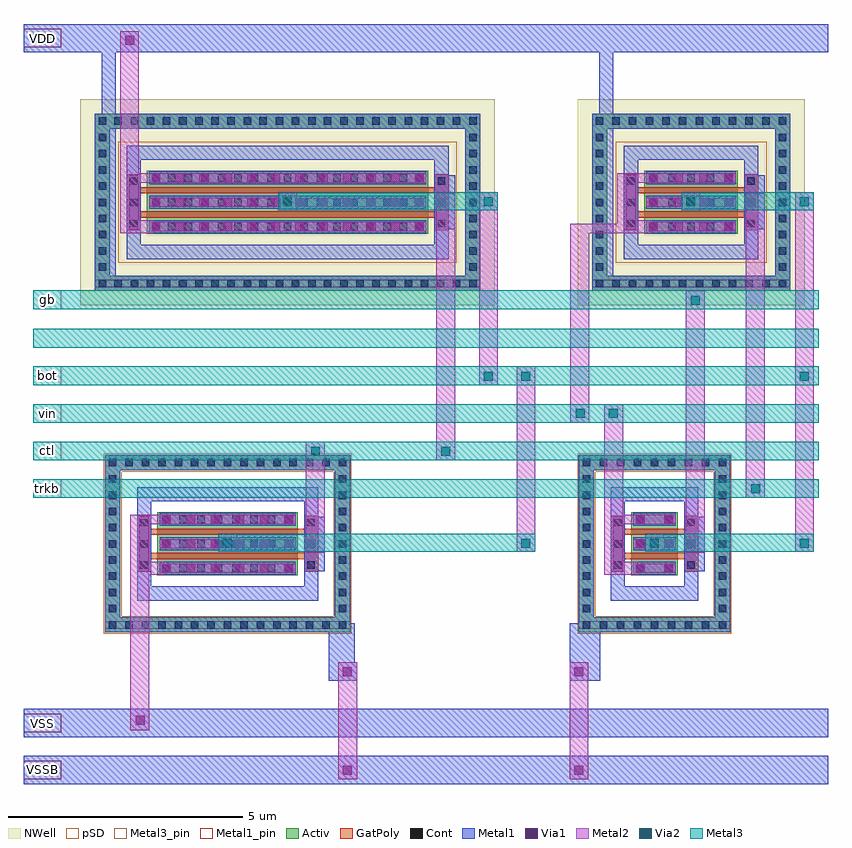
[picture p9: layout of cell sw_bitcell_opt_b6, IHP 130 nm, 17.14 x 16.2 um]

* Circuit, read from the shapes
.subckt sw_bitcell_opt_b6 VDD VSS VSSB bot ctl gb trkb vin
XM1 bot ctl VSS VSSB sg13_lv_nmos w=3u l=0.13u m=2
XM2 bot gb vin VSSB sg13_lv_nmos w=1u l=0.13u m=2
XM3 bot ctl VDD VDD sg13_lv_pmos w=6u l=0.13u m=2
XM4 bot trkb vin VDD sg13_lv_pmos w=2u l=0.13u m=2
.ends

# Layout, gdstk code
import gdstk
lib = gdstk.Library(unit=1e-6, precision=1e-09)
def R(c, l, rs):  # rectangles x0, y0, x1, y1
    for r in rs: c.add(gdstk.rectangle(r[:2], r[2:], *l))
def A(c, l, x, y, w, h, nx, ny, dx, dy):  # array of equal rectangles
    R(c, l, [(x+i*dx, y+j*dy, x+i*dx+w, y+j*dy+h) for i in range(nx) for j in range(ny)])
def P(c, l, *ps):  # polygons
    for p in ps: c.add(gdstk.Polygon(p, *l))
Activ = (1, 0)
GatPoly = (5, 0)
Cont = (6, 0)
Metal1 = (8, 0)
Metal1_pin = (8, 2)
Metal2 = (10, 0)
pSD = (14, 0)
Via1 = (19, 0)
Via2 = (29, 0)
Metal3 = (30, 0)
Metal3_pin = (30, 2)
NWell = (31, 0)

rfnmos_12 = lib.new_cell('rfnmos$12')
R(rfnmos_12, Activ, [(1.14,1.245,4.14,2.595)])
P(rfnmos_12, Activ, [(0.03,0.03),(0.03,3.49),(0.35,3.49),(0.35,0.35),(4.93,0.35),(4.93,3.49),(0.03,3.49),(0.03,3.81),(5.25,3.81),(5.25,0.03)])
R(rfnmos_12, GatPoly, [(0.71,1.32,1.01,2.52), (4.27,1.32,4.57,2.52), (1.01,1.595,4.27,1.725), (1.01,2.115,4.27,2.245)])
A(rfnmos_12, Cont, 0.11, 0.11, 0.16, 0.16, 15, 2, 0.35, 3.46)
A(rfnmos_12, Cont, 0.11, 0.46, 0.16, 0.16, 1, 9, 0, 0.345)
A(rfnmos_12, Cont, 5.01, 0.46, 0.16, 0.16, 1, 9, 0, 0.345)
A(rfnmos_12, Cont, 1.24, 1.32, 0.16, 0.16, 3, 3, 0.375, 0.52)
A(rfnmos_12, Cont, 2.37, 1.32, 0.16, 0.16, 1, 3, 0, 0.52)
A(rfnmos_12, Cont, 2.745, 1.32, 0.16, 0.16, 1, 3, 0, 0.52)
A(rfnmos_12, Cont, 3.125, 1.32, 0.16, 0.16, 1, 3, 0, 0.52)
A(rfnmos_12, Cont, 3.5, 1.32, 0.16, 0.16, 1, 3, 0, 0.52)
A(rfnmos_12, Cont, 3.88, 1.32, 0.16, 0.16, 1, 3, 0, 0.52)
A(rfnmos_12, Cont, 0.78, 1.39, 0.16, 0.16, 1, 3, 0, 0.45)
A(rfnmos_12, Cont, 4.34, 1.39, 0.16, 0.16, 1, 3, 0, 0.45)
A(rfnmos_12, Metal1, 1.19, 1.26, 2.9, 0.28, 1, 3, 0, 0.52)
R(rfnmos_12, Metal1, [(0.03,0.03,5.25,0.35), (0.03,0.35,0.35,3.49), (4.93,0.35,5.25,3.49), (0.76,1.34,0.96,2.5), (4.32,1.34,4.52,2.5), (0.03,3.49,5.25,3.81)])
P(rfnmos_12, Metal1, [(0.71,0.71),(0.71,2.83),(1.01,2.83),(1.01,1.01),(4.27,1.01),(4.27,2.83),(0.71,2.83),(0.71,3.13),(4.57,3.13),(4.57,0.71)])
R(rfnmos_12, Metal1_pin, [(0.03,0.11,5.25,0.27), (0.03,0.11,5.25,0.27), (1.19,1.26,4.09,1.54), (1.19,1.26,4.09,1.54), (0.76,1.34,0.96,2.5), (0.76,1.34,0.96,2.5), (1.19,1.78,4.09,2.06), (1.19,1.78,4.09,2.06)])
A(rfnmos_12, Metal2, 1.19, 1.3, 2.9, 0.2, 1, 3, 0, 0.52)
P(rfnmos_12, pSD, [(0,0),(0,3.46),(0.38,3.46),(0.38,0.38),(4.9,0.38),(4.9,3.46),(0,3.46),(0,3.84),(5.28,3.84),(5.28,0)])
A(rfnmos_12, Via1, 1.24, 1.305, 0.19, 0.19, 3, 3, 0.52, 0.52)
A(rfnmos_12, Via1, 2.805, 1.305, 0.19, 0.19, 1, 3, 0, 0.52)
A(rfnmos_12, Via1, 3.325, 1.305, 0.19, 0.19, 1, 3, 0, 0.52)
A(rfnmos_12, Via1, 3.85, 1.305, 0.19, 0.19, 1, 3, 0, 0.52)
rfnmos_12.add(gdstk.Label('S', (2.64,1.42), layer=63, texttype=0))
rfnmos_12.add(gdstk.Label('D', (2.64,1.94), layer=63, texttype=0))
rfnmos_12.add(gdstk.Label('G', (0.86,1.92), layer=63, texttype=0))
rfnmos_12.add(gdstk.Label('TIE', (2.64,0.19), layer=63, texttype=0))
rfnmos_12.add(gdstk.Label('rfnmos', (2.64,3.65), layer=63, texttype=0))

rfpmos_11 = lib.new_cell('rfpmos$11')
R(rfpmos_11, Activ, [(1.42,1.525,7.42,2.875)])
P(rfpmos_11, Activ, [(0.31,0.31),(0.31,3.77),(0.63,3.77),(0.63,0.63),(8.21,0.63),(8.21,3.77),(0.31,3.77),(0.31,4.09),(8.53,4.09),(8.53,0.31)])
R(rfpmos_11, GatPoly, [(0.99,1.6,1.29,2.8), (7.55,1.6,7.85,2.8), (1.29,1.875,7.55,2.005), (1.29,2.395,7.55,2.525)])
A(rfpmos_11, Cont, 0.73, 0.39, 0.16, 0.16, 3, 2, 0.345, 3.46)
A(rfpmos_11, Cont, 1.76, 0.39, 0.16, 0.16, 3, 2, 0.345, 3.46)
A(rfpmos_11, Cont, 2.79, 0.39, 0.16, 0.16, 3, 2, 0.345, 3.46)
A(rfpmos_11, Cont, 3.82, 0.39, 0.16, 0.16, 4, 2, 0.345, 3.46)
A(rfpmos_11, Cont, 5.195, 0.39, 0.16, 0.16, 3, 2, 0.345, 3.46)
A(rfpmos_11, Cont, 6.225, 0.39, 0.16, 0.16, 3, 2, 0.345, 3.46)
A(rfpmos_11, Cont, 7.255, 0.39, 0.16, 0.16, 4, 2, 0.345, 3.46)
A(rfpmos_11, Cont, 0.39, 0.74, 0.16, 0.16, 1, 9, 0, 0.345)
A(rfpmos_11, Cont, 8.29, 0.74, 0.16, 0.16, 1, 9, 0, 0.345)
A(rfpmos_11, Cont, 1.52, 1.6, 0.16, 0.16, 1, 3, 0, 0.52)
A(rfpmos_11, Cont, 1.87, 1.6, 0.16, 0.16, 1, 3, 0, 0.52)
A(rfpmos_11, Cont, 2.225, 1.6, 0.16, 0.16, 1, 3, 0, 0.52)
A(rfpmos_11, Cont, 2.575, 1.6, 0.16, 0.16, 1, 3, 0, 0.52)
A(rfpmos_11, Cont, 2.93, 1.6, 0.16, 0.16, 1, 3, 0, 0.52)
A(rfpmos_11, Cont, 3.28, 1.6, 0.16, 0.16, 1, 3, 0, 0.52)
A(rfpmos_11, Cont, 3.635, 1.6, 0.16, 0.16, 1, 3, 0, 0.52)
A(rfpmos_11, Cont, 3.985, 1.6, 0.16, 0.16, 1, 3, 0, 0.52)
A(rfpmos_11, Cont, 4.34, 1.6, 0.16, 0.16, 1, 3, 0, 0.52)
A(rfpmos_11, Cont, 4.69, 1.6, 0.16, 0.16, 1, 3, 0, 0.52)
A(rfpmos_11, Cont, 5.045, 1.6, 0.16, 0.16, 1, 3, 0, 0.52)
A(rfpmos_11, Cont, 5.395, 1.6, 0.16, 0.16, 1, 3, 0, 0.52)
A(rfpmos_11, Cont, 5.75, 1.6, 0.16, 0.16, 1, 3, 0, 0.52)
A(rfpmos_11, Cont, 6.1, 1.6, 0.16, 0.16, 1, 3, 0, 0.52)
A(rfpmos_11, Cont, 6.455, 1.6, 0.16, 0.16, 1, 3, 0, 0.52)
A(rfpmos_11, Cont, 6.805, 1.6, 0.16, 0.16, 1, 3, 0, 0.52)
A(rfpmos_11, Cont, 7.16, 1.6, 0.16, 0.16, 1, 3, 0, 0.52)
A(rfpmos_11, Cont, 1.06, 1.67, 0.16, 0.16, 1, 3, 0, 0.45)
A(rfpmos_11, Cont, 7.62, 1.67, 0.16, 0.16, 1, 3, 0, 0.45)
R(rfpmos_11, Cont, [(0.39,0.39,0.55,0.55), (0.39,3.85,0.55,4.01)])
A(rfpmos_11, Metal1, 1.47, 1.54, 5.9, 0.28, 1, 3, 0, 0.52)
R(rfpmos_11, Metal1, [(0.31,0.31,8.53,0.63), (0.31,0.63,0.63,3.77), (8.21,0.63,8.53,3.77), (1.04,1.62,1.24,2.78), (7.6,1.62,7.8,2.78), (0.31,3.77,8.53,4.09)])
P(rfpmos_11, Metal1, [(0.99,0.99),(0.99,3.11),(1.29,3.11),(1.29,1.29),(7.55,1.29),(7.55,3.11),(0.99,3.11),(0.99,3.41),(7.85,3.41),(7.85,0.99)])
R(rfpmos_11, Metal1_pin, [(0.31,0.39,8.53,0.55), (0.31,0.39,8.53,0.55), (1.47,1.54,7.37,1.82), (1.47,1.54,7.37,1.82), (1.04,1.62,1.24,2.78), (1.04,1.62,1.24,2.78), (1.47,2.06,7.37,2.34), (1.47,2.06,7.37,2.34)])
A(rfpmos_11, Metal2, 1.47, 1.58, 5.9, 0.2, 1, 3, 0, 0.52)
R(rfpmos_11, pSD, [(0.81,0.91,8.03,3.49)])
A(rfpmos_11, Via1, 1.52, 1.585, 0.19, 0.19, 12, 3, 0.51, 0.52)
R(rfpmos_11, NWell, [(0,0,8.84,4.4)])
rfpmos_11.add(gdstk.Label('S', (4.42,1.7), layer=63, texttype=0))
rfpmos_11.add(gdstk.Label('D', (4.42,2.22), layer=63, texttype=0))
rfpmos_11.add(gdstk.Label('G', (1.14,2.2), layer=63, texttype=0))
rfpmos_11.add(gdstk.Label('TIE', (4.42,0.47), layer=63, texttype=0))
rfpmos_11.add(gdstk.Label('rfpmos', (4.42,3.93), layer=63, texttype=0))

rfnmos_1_8 = lib.new_cell('rfnmos$1$8')
R(rfnmos_1_8, Activ, [(1.14,1.245,2.14,2.595)])
P(rfnmos_1_8, Activ, [(0.03,0.03),(0.03,3.49),(0.35,3.49),(0.35,0.35),(2.93,0.35),(2.93,3.49),(0.03,3.49),(0.03,3.81),(3.25,3.81),(3.25,0.03)])
R(rfnmos_1_8, GatPoly, [(0.71,1.32,1.01,2.52), (2.27,1.32,2.57,2.52), (1.01,1.595,2.27,1.725), (1.01,2.115,2.27,2.245)])
A(rfnmos_1_8, Cont, 0.11, 0.46, 0.16, 0.16, 1, 9, 0, 0.345)
A(rfnmos_1_8, Cont, 3.01, 0.46, 0.16, 0.16, 1, 9, 0, 0.345)
A(rfnmos_1_8, Cont, 1.24, 1.32, 0.16, 0.16, 1, 3, 0, 0.52)
A(rfnmos_1_8, Cont, 1.88, 1.32, 0.16, 0.16, 1, 3, 0, 0.52)
A(rfnmos_1_8, Cont, 0.78, 1.39, 0.16, 0.16, 1, 3, 0, 0.45)
A(rfnmos_1_8, Cont, 2.34, 1.39, 0.16, 0.16, 1, 3, 0, 0.45)
R(rfnmos_1_8, Cont, [(0.11,0.11,0.27,0.27), (0.47,0.11,0.63,0.27), (0.835,0.11,0.995,0.27), (1.195,0.11,1.355,0.27), (1.56,0.11,1.72,0.27), (1.92,0.11,2.08,0.27), (2.285,0.11,2.445,0.27), (2.645,0.11,2.805,0.27), (3.01,0.11,3.17,0.27), (0.11,3.57,0.27,3.73), (0.47,3.57,0.63,3.73), (0.835,3.57,0.995,3.73), (1.195,3.57,1.355,3.73), (1.56,3.57,1.72,3.73), (1.92,3.57,2.08,3.73), (2.285,3.57,2.445,3.73), (2.645,3.57,2.805,3.73), (3.01,3.57,3.17,3.73)])
A(rfnmos_1_8, Metal1, 1.19, 1.26, 0.9, 0.28, 1, 3, 0, 0.52)
R(rfnmos_1_8, Metal1, [(0.03,0.03,3.25,0.35), (0.03,0.35,0.35,3.49), (2.93,0.35,3.25,3.49), (0.76,1.34,0.96,2.5), (2.32,1.34,2.52,2.5), (0.03,3.49,3.25,3.81)])
P(rfnmos_1_8, Metal1, [(0.71,0.71),(0.71,2.83),(1.01,2.83),(1.01,1.01),(2.27,1.01),(2.27,2.83),(0.71,2.83),(0.71,3.13),(2.57,3.13),(2.57,0.71)])
R(rfnmos_1_8, Metal1_pin, [(0.03,0.11,3.25,0.27), (0.03,0.11,3.25,0.27), (1.19,1.26,2.09,1.54), (1.19,1.26,2.09,1.54), (0.76,1.34,0.96,2.5), (0.76,1.34,0.96,2.5), (1.19,1.78,2.09,2.06), (1.19,1.78,2.09,2.06)])
A(rfnmos_1_8, Metal2, 1.19, 1.3, 0.9, 0.2, 1, 3, 0, 0.52)
P(rfnmos_1_8, pSD, [(0,0),(0,3.46),(0.38,3.46),(0.38,0.38),(2.9,0.38),(2.9,3.46),(0,3.46),(0,3.84),(3.28,3.84),(3.28,0)])
A(rfnmos_1_8, Via1, 1.24, 1.305, 0.19, 0.19, 1, 3, 0, 0.52)
A(rfnmos_1_8, Via1, 1.85, 1.305, 0.19, 0.19, 1, 3, 0, 0.52)
rfnmos_1_8.add(gdstk.Label('S', (1.64,1.42), layer=63, texttype=0))
rfnmos_1_8.add(gdstk.Label('D', (1.64,1.94), layer=63, texttype=0))
rfnmos_1_8.add(gdstk.Label('G', (0.86,1.92), layer=63, texttype=0))
rfnmos_1_8.add(gdstk.Label('TIE', (1.64,0.19), layer=63, texttype=0))
rfnmos_1_8.add(gdstk.Label('rfnmos', (1.64,3.65), layer=63, texttype=0))

rfpmos_1_8 = lib.new_cell('rfpmos$1$8')
R(rfpmos_1_8, Activ, [(1.42,1.525,3.42,2.875)])
P(rfpmos_1_8, Activ, [(0.31,0.31),(0.31,3.77),(0.63,3.77),(0.63,0.63),(4.21,0.63),(4.21,3.77),(0.31,3.77),(0.31,4.09),(4.53,4.09),(4.53,0.31)])
R(rfpmos_1_8, GatPoly, [(0.99,1.6,1.29,2.8), (3.55,1.6,3.85,2.8), (1.29,1.875,3.55,2.005), (1.29,2.395,3.55,2.525)])
A(rfpmos_1_8, Cont, 0.74, 0.39, 0.16, 0.16, 11, 2, 0.355, 3.46)
A(rfpmos_1_8, Cont, 0.39, 0.74, 0.16, 0.16, 1, 9, 0, 0.345)
A(rfpmos_1_8, Cont, 4.29, 0.74, 0.16, 0.16, 1, 9, 0, 0.345)
A(rfpmos_1_8, Cont, 1.52, 1.6, 0.16, 0.16, 5, 3, 0.41, 0.52)
A(rfpmos_1_8, Cont, 1.06, 1.67, 0.16, 0.16, 1, 3, 0, 0.45)
A(rfpmos_1_8, Cont, 3.62, 1.67, 0.16, 0.16, 1, 3, 0, 0.45)
R(rfpmos_1_8, Cont, [(0.39,0.39,0.55,0.55), (0.39,3.85,0.55,4.01)])
A(rfpmos_1_8, Metal1, 1.47, 1.54, 1.9, 0.28, 1, 3, 0, 0.52)
R(rfpmos_1_8, Metal1, [(0.31,0.31,4.53,0.63), (0.31,0.63,0.63,3.77), (4.21,0.63,4.53,3.77), (1.04,1.62,1.24,2.78), (3.6,1.62,3.8,2.78), (0.31,3.77,4.53,4.09)])
P(rfpmos_1_8, Metal1, [(0.99,0.99),(0.99,3.11),(1.29,3.11),(1.29,1.29),(3.55,1.29),(3.55,3.11),(0.99,3.11),(0.99,3.41),(3.85,3.41),(3.85,0.99)])
R(rfpmos_1_8, Metal1_pin, [(0.31,0.39,4.53,0.55), (0.31,0.39,4.53,0.55), (1.47,1.54,3.37,1.82), (1.47,1.54,3.37,1.82), (1.04,1.62,1.24,2.78), (1.04,1.62,1.24,2.78), (1.47,2.06,3.37,2.34), (1.47,2.06,3.37,2.34)])
A(rfpmos_1_8, Metal2, 1.47, 1.58, 1.9, 0.2, 1, 3, 0, 0.52)
R(rfpmos_1_8, pSD, [(0.81,0.91,4.03,3.49)])
A(rfpmos_1_8, Via1, 1.52, 1.585, 0.19, 0.19, 3, 3, 0.535, 0.52)
A(rfpmos_1_8, Via1, 3.13, 1.585, 0.19, 0.19, 1, 3, 0, 0.52)
R(rfpmos_1_8, NWell, [(0,0,4.84,4.4)])
rfpmos_1_8.add(gdstk.Label('S', (2.42,1.7), layer=63, texttype=0))
rfpmos_1_8.add(gdstk.Label('D', (2.42,2.22), layer=63, texttype=0))
rfpmos_1_8.add(gdstk.Label('G', (1.14,2.2), layer=63, texttype=0))
rfpmos_1_8.add(gdstk.Label('TIE', (2.42,0.47), layer=63, texttype=0))
rfpmos_1_8.add(gdstk.Label('rfpmos', (2.42,3.93), layer=63, texttype=0))

sw_bitcell_opt_b6 = lib.new_cell('sw_bitcell_opt_b6')
R(sw_bitcell_opt_b6, Metal1, [(-1.2,-3.2,15.94,-2.6), (5.5,-3.1,5.9,-2.7), (10.43,-3.1,10.83,-2.7), (-1.2,-2.2,15.94,-1.6), (1.07,-2.05,1.47,-1.65), (5.3,-1,5.85,0.23), (5.5,-1,5.9,-0.6), (10.43,-1,10.83,-0.6), (10.43,-1,11.08,0.23), (4.81,1.34,5.21,2.5), (12.91,1.34,13.31,2.5), (0.46,7.44,0.76,12.4), (11.06,7.44,11.36,12.4), (7.59,8.62,7.99,9.78), (14.19,8.62,14.59,9.78), (-1.2,12.4,15.94,13), (0.85,12.45,1.25,12.85)])
R(sw_bitcell_opt_b6, Metal1_pin, [(-1.2,-3.1,-0.4,-2.7), (-1.2,-2.1,-0.4,-1.7), (-1.2,12.5,-0.4,12.9)])
R(sw_bitcell_opt_b6, Metal2, [(5.5,-3.1,5.9,-2.7), (10.43,-3.1,10.83,-2.7), (5.5,-2.9,5.9,-0.8), (10.43,-2.9,10.83,-0.8), (1.07,-2.05,1.47,-1.65), (1.07,-1.9,1.47,1.46), (5.5,-1,5.9,-0.6), (10.43,-1,10.83,-0.6), (1.07,1.26,1.79,1.54), (1.07,1.26,1.47,2.54), (11.17,1.26,11.89,1.54), (11.17,1.26,11.57,2.54), (4.81,1.73,5.21,2.11), (12.91,1.73,13.31,2.11), (2.94,1.75,3.34,2.13), (9.3,1.75,9.7,2.13), (12.04,1.75,12.44,2.13), (15.24,1.75,15.64,2.13), (4.81,1.92,5.21,3.9), (12.91,1.92,13.31,7.12), (9.3,1.94,9.7,5.5), (15.24,1.94,15.64,5.5), (1.07,2.34,1.79,2.54), (11.17,2.34,11.89,2.54), (11.17,2.4,11.57,4.9), (14.19,2.9,14.59,3.3), (14.19,3.1,14.59,9.2), (4.81,3.7,5.21,4.1), (7.59,3.7,7.99,4.1), (7.59,3.9,7.99,9.2), (10.45,4.5,10.85,4.9), (10.45,4.5,10.85,8.74), (11.17,4.5,11.57,4.9), (8.5,5.3,8.9,5.7), (9.3,5.3,9.7,5.7), (15.24,5.3,15.64,5.7), (15.24,5.3,15.64,5.7), (8.5,5.5,8.9,9.22), (15.24,5.5,15.64,9.22), (12.91,6.93,13.31,7.31), (0.85,8.54,1.57,8.82), (0.85,8.54,1.25,9.82), (10.45,8.54,11.85,8.74), (11.45,8.54,12.17,8.82), (11.45,8.54,11.85,9.82), (7.59,9.01,7.99,9.39), (14.19,9.01,14.59,9.39), (4.22,9.03,4.62,9.41), (8.5,9.03,8.9,9.41), (12.82,9.03,13.22,9.41), (15.24,9.03,15.64,9.41), (0.85,9.62,1.57,9.82), (0.85,9.62,1.25,12.7), (11.45,9.62,12.17,9.82), (0.85,12.45,1.25,12.85)])
R(sw_bitcell_opt_b6, Via1, [(5.6,-3,5.79,-2.81), (10.53,-3,10.72,-2.81), (1.18,-1.94,1.37,-1.75), (5.6,-0.9,5.79,-0.71), (10.53,-0.9,10.72,-0.71), (4.82,1.82,5.01,2.01), (12.92,1.82,13.11,2.01), (7.6,9.1,7.79,9.29), (14.2,9.1,14.39,9.29), (0.96,12.56,1.15,12.75)])
R(sw_bitcell_opt_b6, Via2, [(3.04,1.84,3.23,2.03), (9.4,1.84,9.59,2.03), (12.14,1.84,12.33,2.03), (15.34,1.84,15.53,2.03), (14.3,3,14.49,3.19), (4.92,3.8,5.11,3.99), (7.7,3.8,7.89,3.99), (10.56,4.61,10.75,4.8), (11.27,4.61,11.46,4.8), (8.6,5.4,8.79,5.59), (9.4,5.4,9.59,5.59), (15.34,5.4,15.53,5.59), (15.34,5.4,15.53,5.59), (13.01,7.02,13.2,7.21), (4.32,9.12,4.51,9.31), (8.6,9.12,8.79,9.31), (12.92,9.12,13.11,9.31), (15.34,9.12,15.53,9.31)])
A(sw_bitcell_opt_b6, Metal3, -1, 2.9, 16.74, 0.4, 1, 5, 0, 0.8)
R(sw_bitcell_opt_b6, Metal3, [(2.94,1.75,9.7,2.13), (2.94,1.75,3.34,2.13), (9.3,1.75,9.7,2.13), (12.04,1.75,12.44,2.13), (12.04,1.75,15.64,2.13), (15.24,1.75,15.64,2.13), (14.19,2.9,14.59,3.3), (4.81,3.7,5.21,4.1), (7.59,3.7,7.99,4.1), (10.45,4.5,10.85,4.9), (11.17,4.5,11.57,4.9), (8.5,5.3,8.9,5.7), (9.3,5.3,9.7,5.7), (15.24,5.3,15.64,5.7), (15.24,5.3,15.64,5.7), (-1,6.92,15.74,7.32), (12.91,6.93,13.31,7.31), (4.22,9.03,4.62,9.41), (4.22,9.03,8.9,9.41), (8.5,9.03,8.9,9.41), (12.82,9.03,13.22,9.41), (12.82,9.03,15.64,9.41), (15.24,9.03,15.64,9.41)])
A(sw_bitcell_opt_b6, Metal3_pin, -1, 2.9, 0.6, 0.4, 1, 4, 0, 0.8)
R(sw_bitcell_opt_b6, Metal3_pin, [(-1,6.92,-0.4,7.32)])
sw_bitcell_opt_b6.add(gdstk.Reference(rfnmos_12, (0.5,0)))
sw_bitcell_opt_b6.add(gdstk.Reference(rfpmos_11, (0,7)))
sw_bitcell_opt_b6.add(gdstk.Reference(rfnmos_1_8, (10.6,0)))
sw_bitcell_opt_b6.add(gdstk.Reference(rfpmos_1_8, (10.6,7)))
sw_bitcell_opt_b6.add(gdstk.Label('VSS', (-0.8,-1.9), layer=8, texttype=25))
sw_bitcell_opt_b6.add(gdstk.Label('VSSB', (-0.8,-2.9), layer=8, texttype=25))
sw_bitcell_opt_b6.add(gdstk.Label('VDD', (-0.8,12.7), layer=8, texttype=25))
sw_bitcell_opt_b6.add(gdstk.Label('bot', (-0.7,5.5), layer=30, texttype=25))
sw_bitcell_opt_b6.add(gdstk.Label('vin', (-0.7,4.7), layer=30, texttype=25))
sw_bitcell_opt_b6.add(gdstk.Label('ctl', (-0.7,3.9), layer=30, texttype=25))
sw_bitcell_opt_b6.add(gdstk.Label('trkb', (-0.7,3.1), layer=30, texttype=25))
sw_bitcell_opt_b6.add(gdstk.Label('gb', (-0.7,7.12), layer=30, texttype=25))

lib.write_gds('sw_bitcell_opt_b6.gds')
